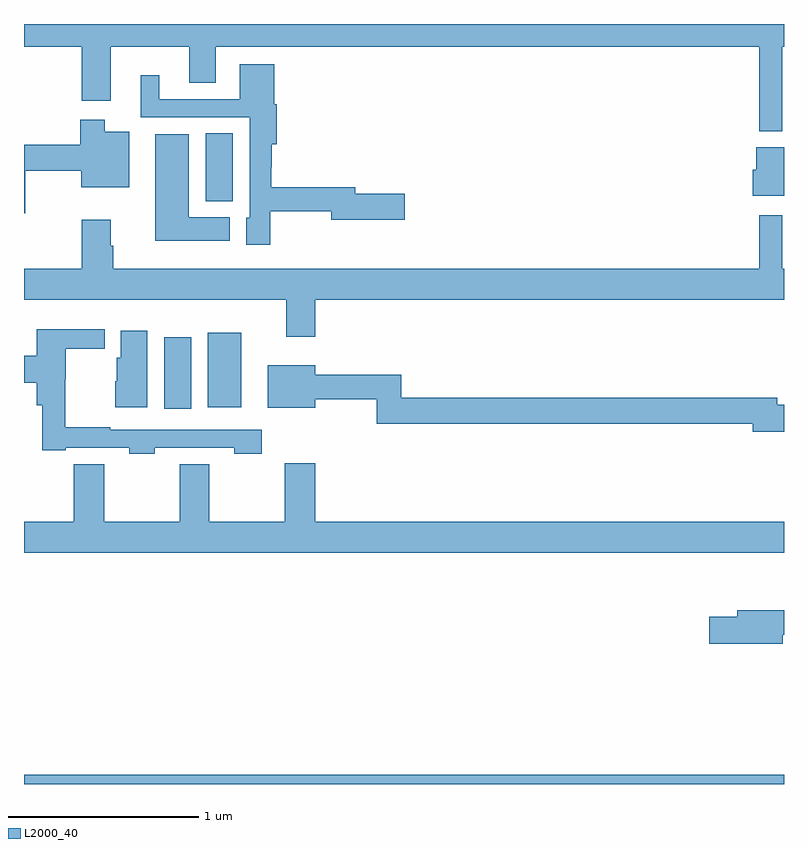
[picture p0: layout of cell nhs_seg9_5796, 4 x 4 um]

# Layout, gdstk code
import gdstk
lib = gdstk.Library(unit=1e-6, precision=1e-09)
def R(c, l, rs):  # rectangles x0, y0, x1, y1
    for r in rs: c.add(gdstk.rectangle(r[:2], r[2:], *l))
def P(c, l, *ps):  # polygons
    for p in ps: c.add(gdstk.Polygon(p, *l))
L2000_40 = (2000, 40)

nhs_seg9_5796 = lib.new_cell('nhs_seg9_5796')
R(nhs_seg9_5796, L2000_40, [(447,1232.5,451,1232.548), (447.737,1234.476,447.88,1234.852), (447.968,1234.484,448.144,1234.876), (447.956,1235.567,448.099,1235.924)])
P(nhs_seg9_5796, L2000_40, [(450.991,1236.38),(451,1236.38),(451,1236.5),(447,1236.5),(447,1236.38),(447.305,1236.38),(447.305,1236.096),(447.457,1236.096),(447.457,1236.38),(447.869,1236.38),(447.869,1236.19),(448.009,1236.19),(448.009,1236.38),(450.87,1236.38),(450.87,1235.936),(450.991,1235.936)],
  [(448.297,1235.514),(448.616,1235.514),(448.616,1235.471),(449.005,1235.471),(449.005,1235.606),(448.744,1235.606),(448.744,1235.642),(448.3,1235.642),(448.3,1235.745),(448.304,1235.745),(448.304,1235.867),(448.331,1235.867),(448.331,1236.078),(448.318,1236.078),(448.318,1236.289),(448.136,1236.289),(448.136,1236.105),(447.712,1236.105),(447.712,1236.229),(447.614,1236.229),(447.614,1236.009),(448.188,1236.009),(448.188,1235.481),(448.169,1235.481),(448.169,1235.337),(448.297,1235.337)],
  [(447.006,1235.728),(447.302,1235.728),(447.302,1235.642),(447.553,1235.642),(447.553,1235.932),(447.424,1235.932),(447.424,1235.995),(447.295,1235.995),(447.295,1235.864),(447,1235.864),(447,1235.505),(447.006,1235.505)],
  [(448.084,1235.482),(447.868,1235.482),(447.868,1235.92),(447.692,1235.92),(447.692,1235.36),(448.084,1235.36)],
  [(451,1235.851),(450.854,1235.851),(450.854,1235.733),(450.836,1235.733),(450.836,1235.597),(451,1235.597)],
  [(448.532,1235.048),(451,1235.048),(451,1235.212),(450.991,1235.212),(450.991,1235.494),(450.87,1235.494),(450.87,1235.212),(447.47,1235.212),(447.47,1235.333),(447.457,1235.333),(447.457,1235.47),(447.305,1235.47),(447.305,1235.212),(447,1235.212),(447,1235.048),(448.379,1235.048),(448.379,1234.854),(448.532,1234.854)],
  [(447.687,1234.269),(448.107,1234.269),(448.107,1234.237),(448.252,1234.237),(448.252,1234.365),(447.455,1234.365),(447.455,1234.378),(447.218,1234.378),(447.218,1234.629),(447.22,1234.629),(447.22,1234.792),(447.424,1234.792),(447.424,1234.894),(447.068,1234.894),(447.068,1234.755),(447,1234.755),(447,1234.613),(447.068,1234.613),(447.068,1234.493),(447.097,1234.493),(447.097,1234.257),(447.22,1234.257),(447.22,1234.269),(447.555,1234.269),(447.555,1234.237),(447.687,1234.237)],
  [(447.649,1234.885),(447.509,1234.885),(447.509,1234.743),(447.488,1234.743),(447.488,1234.62),(447.479,1234.62),(447.479,1234.484),(447.649,1234.484)],
  [(451,1234.496),(450.964,1234.496),(450.964,1234.532),(448.985,1234.532),(448.985,1234.654),(448.534,1234.654),(448.534,1234.705),(448.283,1234.705),(448.283,1234.481),(448.534,1234.481),(448.534,1234.525),(448.857,1234.525),(448.857,1234.396),(450.836,1234.396),(450.836,1234.354),(451,1234.354)],
  [(451,1233.88),(448.532,1233.88),(448.532,1234.189),(448.372,1234.189),(448.372,1233.88),(447.974,1233.88),(447.974,1234.184),(447.82,1234.184),(447.82,1233.88),(447.422,1233.88),(447.422,1234.184),(447.263,1234.184),(447.263,1233.88),(447,1233.88),(447,1233.716),(451,1233.716)],
  [(450.994,1233.286),(451,1233.286),(451,1233.415),(450.755,1233.415),(450.755,1233.381),(450.606,1233.381),(450.606,1233.239),(450.994,1233.239)])

lib.write_gds('nhs_seg9_5796.gds')
